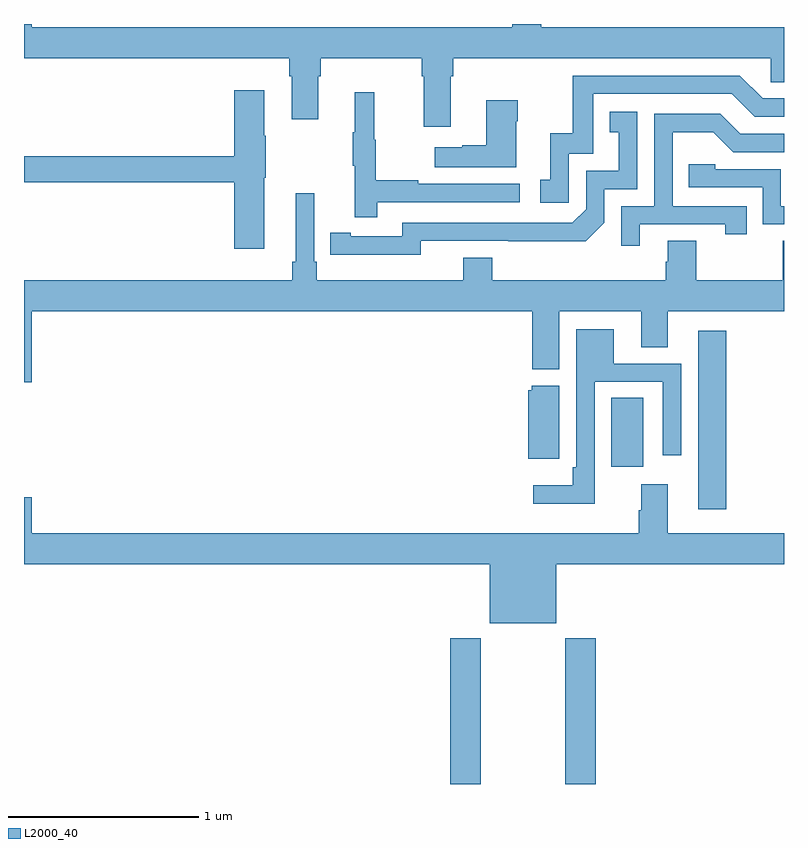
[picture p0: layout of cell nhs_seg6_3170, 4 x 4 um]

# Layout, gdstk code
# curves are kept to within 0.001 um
import gdstk
lib = gdstk.Library(unit=1e-6, precision=1e-09)
def R(c, l, rs):  # rectangles x0, y0, x1, y1
    for r in rs: c.add(gdstk.rectangle(r[:2], r[2:], *l))
def P(c, l, *ps):  # polygons
    for p in ps: c.add(gdstk.Polygon(p, *l))
L2000_40 = (2000, 40)

nhs_seg6_3170 = lib.new_cell('nhs_seg6_3170')
R(nhs_seg6_3170, L2000_40, [(299.243,959.5,299.403,960.268), (299.848,959.5,300.008,960.268), (300.548,960.945,300.695,961.885), (300.092,961.17,300.259,961.532)])
P(nhs_seg6_3170, L2000_40, [(299.245,963.224),(299.258,963.224),(299.258,963.32),(300.93,963.32),(300.93,963.193),(301,963.193),(301,963.484),(299.722,963.484),(299.722,963.5),(299.57,963.5),(299.57,963.484),(297.04,963.484),(297.04,963.5),(297,963.5),(297,963.32),(298.397,963.32),(298.397,963.224),(298.409,963.224),(298.409,963),(298.549,963),(298.549,963.224),(298.562,963.224),(298.562,963.32),(299.093,963.32),(299.093,963.224),(299.105,963.224),(299.105,962.958),(299.245,962.958)],
  [(299.868,962.817),(299.997,962.817),(299.997,963.132),(300.726,963.132),(300.846,963.012),(301,963.012),(301,963.108),(300.888,963.108),(300.768,963.228),(299.889,963.228),(299.889,962.926),(299.771,962.926),(299.771,962.679),(299.718,962.679),(299.718,962.559),(299.868,962.559)],
  [(298.264,962.691),(298.272,962.691),(298.272,962.912),(298.264,962.912),(298.264,963.151),(298.106,963.151),(298.106,962.804),(297,962.804),(297,962.668),(298.106,962.668),(298.106,962.316),(298.264,962.316)],
  [(298.859,962.562),(299.608,962.562),(299.608,962.658),(299.075,962.658),(299.075,962.678),(298.852,962.678),(298.852,962.892),(298.844,962.892),(298.844,963.142),(298.742,963.142),(298.742,962.929),(298.731,962.929),(298.731,962.755),(298.742,962.755),(298.742,962.484),(298.859,962.484)],
  [(299.59,962.987),(299.598,962.987),(299.598,963.1),(299.432,963.1),(299.432,962.861),(299.306,962.861),(299.306,962.851),(299.163,962.851),(299.163,962.747),(299.59,962.747)],
  [(299.088,962.358),(299.956,962.357),(300.054,962.454),(300.054,962.631),(300.228,962.631),(300.228,963.037),(300.082,963.037),(300.082,962.931),(300.131,962.931),(300.131,962.727),(299.958,962.727),(299.958,962.526),(299.886,962.454),(298.992,962.454),(298.992,962.382),(298.72,962.382),(298.72,962.402),(298.612,962.402),(298.612,962.286),(299.088,962.285)],
  [(300.241,962.445),(300.692,962.445),(300.692,962.394),(300.803,962.394),(300.803,962.541),(300.414,962.541),(300.414,962.93),(300.628,962.93),(300.732,962.826),(301,962.826),(301,962.922),(300.769,962.922),(300.664,963.027),(300.318,963.027),(300.318,962.541),(300.144,962.541),(300.144,962.334),(300.241,962.334)],
  [(301,962.541),(300.984,962.541),(300.984,962.736),(300.639,962.736),(300.639,962.763),(300.499,962.763),(300.499,962.64),(300.888,962.64),(300.888,962.445),(301,962.445)],
  [(297.04,961.988),(299.675,961.988),(299.675,961.682),(299.818,961.682),(299.818,961.988),(300.248,961.988),(300.248,961.798),(300.388,961.798),(300.388,961.988),(301,961.988),(301,962.36),(300.994,962.36),(300.994,962.152),(300.537,962.152),(300.537,962.36),(300.389,962.36),(300.389,962.25),(300.377,962.25),(300.377,962.152),(299.465,962.152),(299.465,962.269),(299.312,962.269),(299.312,962.152),(298.541,962.152),(298.541,962.248),(298.527,962.248),(298.527,962.608),(298.43,962.608),(298.43,962.248),(298.411,962.248),(298.411,962.152),(297,962.152),(297,961.614),(297.04,961.614)],
  [(300.003,961.617),(300.363,961.617),(300.363,961.23),(300.459,961.23),(300.459,961.713),(300.103,961.713),(300.103,961.894),(299.907,961.894),(299.907,961.168),(299.887,961.168),(299.887,961.072),(299.679,961.072),(299.679,960.974),(300.003,960.974)],
  [(299.818,961.597),(299.673,961.597),(299.673,961.572),(299.654,961.572),(299.654,961.211),(299.818,961.211)],
  [(299.8,960.656),(301,960.656),(301,960.82),(300.388,960.82),(300.388,961.078),(300.248,961.078),(300.248,960.941),(300.236,960.941),(300.236,960.82),(297.04,960.82),(297.04,961.009),(297,961.009),(297,960.656),(299.45,960.656),(299.45,960.347),(299.8,960.347)])

lib.write_gds('nhs_seg6_3170.gds')
